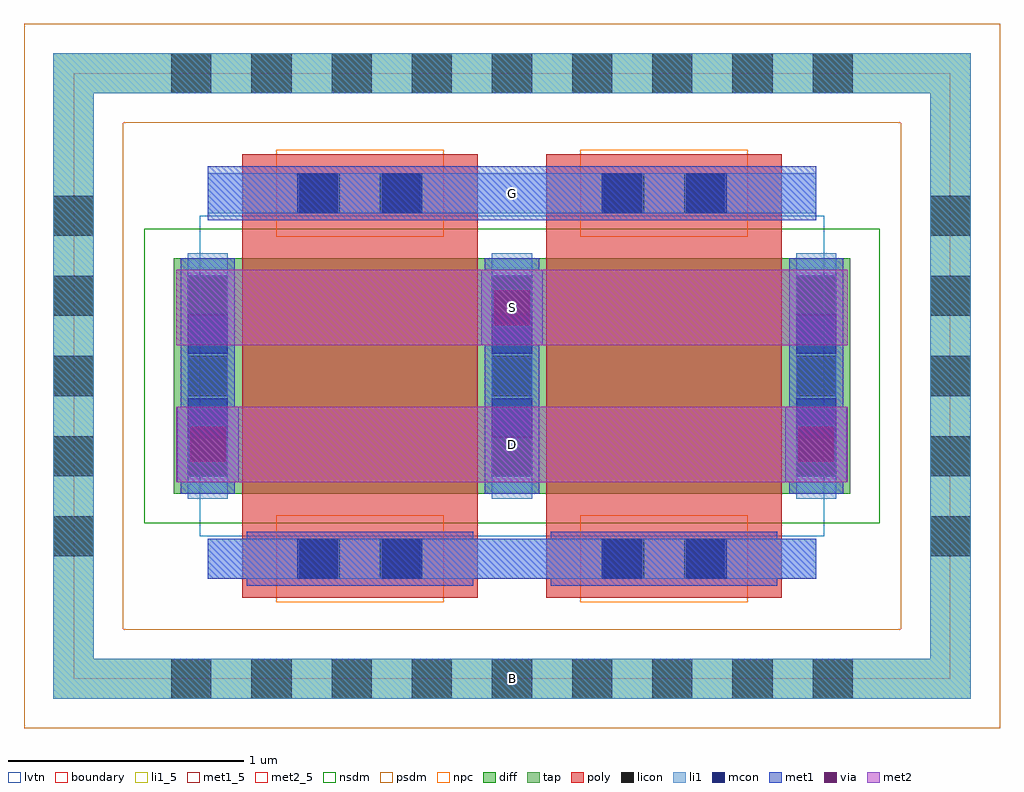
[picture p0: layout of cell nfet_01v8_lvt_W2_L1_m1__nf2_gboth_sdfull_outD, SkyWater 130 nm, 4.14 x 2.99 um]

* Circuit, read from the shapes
.subckt nfet_01v8_lvt_W2_L1_m1__nf2_gboth_sdfull_outD B D G S
XM1 S G D B sky130_fd_pr__nfet_01v8_lvt w=1 l=1 m=2
.ends

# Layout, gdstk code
import gdstk
lib = gdstk.Library(unit=1e-6, precision=1e-09)
def R(c, l, rs):  # rectangles x0, y0, x1, y1
    for r in rs: c.add(gdstk.rectangle(r[:2], r[2:], *l))
def A(c, l, x, y, w, h, nx, ny, dx, dy):  # array of equal rectangles
    R(c, l, [(x+i*dx, y+j*dy, x+i*dx+w, y+j*dy+h) for i in range(nx) for j in range(ny)])
diff = (65, 20)
tap = (65, 44)
poly = (66, 20)
licon = (66, 44)
li1_5 = (67, 5)
li1 = (67, 20)
mcon = (67, 44)
met1_5 = (68, 5)
met1 = (68, 20)
via = (68, 44)
met2_5 = (69, 5)
met2 = (69, 20)
nsdm = (93, 44)
psdm = (94, 20)
npc = (95, 20)
lvtn = (125, 44)
boundary = (235, 4)

sky130_fd_pr__nfet_01v8_ = lib.new_cell('sky130_fd_pr__nfet_01v8_lvt_GGHEQA')
R(sky130_fd_pr__nfet_01v8_, diff, [(-1.435,-0.5,1.435,0.5)])
R(sky130_fd_pr__nfet_01v8_, tap, [(-1.945,-1.37,1.945,-1.2), (-1.945,-1.2,-1.775,1.2), (1.775,-1.2,1.945,1.2), (-1.945,1.2,1.945,1.37)])
R(sky130_fd_pr__nfet_01v8_, poly, [(-1.145,-0.94,-0.145,0.94), (0.145,-0.94,1.145,0.94)])
A(sky130_fd_pr__nfet_01v8_, licon, -1.445, -1.37, 0.17, 0.17, 9, 2, 0.34, 2.57)
A(sky130_fd_pr__nfet_01v8_, licon, -1.945, -0.765, 0.17, 0.17, 1, 5, 0, 0.34)
A(sky130_fd_pr__nfet_01v8_, licon, 1.775, -0.765, 0.17, 0.17, 1, 5, 0, 0.34)
A(sky130_fd_pr__nfet_01v8_, licon, -1.375, -0.425, 0.17, 0.17, 3, 3, 1.29, 0.34)
R(sky130_fd_pr__nfet_01v8_, licon, [(-0.9,-0.86,-0.73,-0.69), (-0.56,-0.86,-0.39,-0.69), (0.39,-0.86,0.56,-0.69), (0.73,-0.86,0.9,-0.69), (-0.9,0.69,-0.73,0.86), (-0.56,0.69,-0.39,0.86), (0.39,0.69,0.56,0.86), (0.73,0.69,0.9,0.86)])
A(sky130_fd_pr__nfet_01v8_, li1, -1.375, -0.52, 0.17, 1.04, 3, 1, 1.29, 0)
R(sky130_fd_pr__nfet_01v8_, li1, [(-1.945,-1.37,1.945,-1.2), (-1.945,-1.2,-1.775,1.2), (1.775,-1.2,1.945,1.2), (-1.29,-0.86,1.29,-0.69), (-1.29,0.69,1.29,0.86), (-1.945,1.2,1.945,1.37)])
A(sky130_fd_pr__nfet_01v8_, mcon, -1.375, -0.265, 0.17, 0.17, 3, 2, 1.29, 0.36)
R(sky130_fd_pr__nfet_01v8_, mcon, [(-0.91,-0.86,-0.74,-0.69), (-0.55,-0.86,-0.38,-0.69), (0.38,-0.86,0.55,-0.69), (0.74,-0.86,0.91,-0.69), (-0.91,0.69,-0.74,0.86), (-0.55,0.69,-0.38,0.86), (0.38,0.69,0.55,0.86), (0.74,0.69,0.91,0.86)])
A(sky130_fd_pr__nfet_01v8_, met1, -1.405, -0.5, 0.23, 1, 3, 1, 1.29, 0)
R(sky130_fd_pr__nfet_01v8_, met1, [(-1.125,-0.89,-0.165,-0.86), (0.165,-0.89,1.125,-0.86), (-1.29,-0.86,1.29,-0.69), (-1.125,-0.69,-0.165,-0.66), (0.165,-0.69,1.125,-0.66), (-1.125,0.66,-0.165,0.69), (0.165,0.66,1.125,0.69), (-1.29,0.69,1.29,0.86), (-1.125,0.86,-0.165,0.89), (0.165,0.86,1.125,0.89)])
R(sky130_fd_pr__nfet_01v8_, nsdm, [(-1.56,-0.625,1.56,0.625)])
R(sky130_fd_pr__nfet_01v8_, psdm, [(-2.07,-1.495,2.07,-1.075), (-2.07,-1.075,-1.65,1.075), (1.65,-1.075,2.07,1.075), (-2.07,1.075,2.07,1.495)])
R(sky130_fd_pr__nfet_01v8_, npc, [(-1,-0.96,-0.29,-0.59), (0.29,-0.96,1,-0.59), (-1,0.59,-0.29,0.96), (0.29,0.59,1,0.96)])
R(sky130_fd_pr__nfet_01v8_, lvtn, [(-1.325,-0.68,1.325,0.68)])
R(sky130_fd_pr__nfet_01v8_, boundary, [(-1.86,-1.285,1.86,1.285)])
sky130_fd_pr__nfet_01v8_.add(gdstk.Label('B', (0,-1.285), layer=67, texttype=5))
sky130_fd_pr__nfet_01v8_.add(gdstk.Label('D0', (-1.29,0), layer=67, texttype=5))
sky130_fd_pr__nfet_01v8_.add(gdstk.Label('G', (0.645,0.775), layer=67, texttype=5))
sky130_fd_pr__nfet_01v8_.add(gdstk.Label('G', (-0.645,0.775), layer=67, texttype=5))
sky130_fd_pr__nfet_01v8_.add(gdstk.Label('S1', (0,0), layer=67, texttype=5))

nfet_01v8_lvt_w2_l1_m1__ = lib.new_cell('nfet_01v8_lvt_W2_L1_m1__nf2_gboth_sdfull_outD')
R(nfet_01v8_lvt_w2_l1_m1__, li1_5, [(1.775,-0.085,1.945,0.085)])
R(nfet_01v8_lvt_w2_l1_m1__, li1, [(1.775,-0.085,1.945,0.085)])
R(nfet_01v8_lvt_w2_l1_m1__, met1_5, [(0.57,1.945,3.15,2.175)])
R(nfet_01v8_lvt_w2_l1_m1__, met1, [(0.44,0.835,0.7,1.155), (3.02,0.835,3.28,1.155), (1.73,1.415,1.99,1.735), (0.57,1.945,3.15,2.175)])
R(nfet_01v8_lvt_w2_l1_m1__, via, [(0.495,0.92,0.645,1.07), (3.075,0.92,3.225,1.07), (1.785,1.5,1.935,1.65)])
R(nfet_01v8_lvt_w2_l1_m1__, met2_5, [(0.435,0.835,3.285,1.155), (0.435,1.415,3.285,1.735)])
R(nfet_01v8_lvt_w2_l1_m1__, met2, [(0.435,0.835,3.285,1.155), (0.435,1.415,3.285,1.735)])
nfet_01v8_lvt_w2_l1_m1__.add(gdstk.Reference(sky130_fd_pr__nfet_01v8_, (1.86,1.285)))
nfet_01v8_lvt_w2_l1_m1__.add(gdstk.Label('S', (1.86,1.575), layer=69, texttype=5))
nfet_01v8_lvt_w2_l1_m1__.add(gdstk.Label('D', (1.86,0.995), layer=69, texttype=5))
nfet_01v8_lvt_w2_l1_m1__.add(gdstk.Label('G', (1.86,2.06), layer=68, texttype=5))
nfet_01v8_lvt_w2_l1_m1__.add(gdstk.Label('B', (1.86,0), layer=67, texttype=5))

lib.write_gds('nfet_01v8_lvt_W2_L1_m1__nf2_gboth_sdfull_outD.gds')
